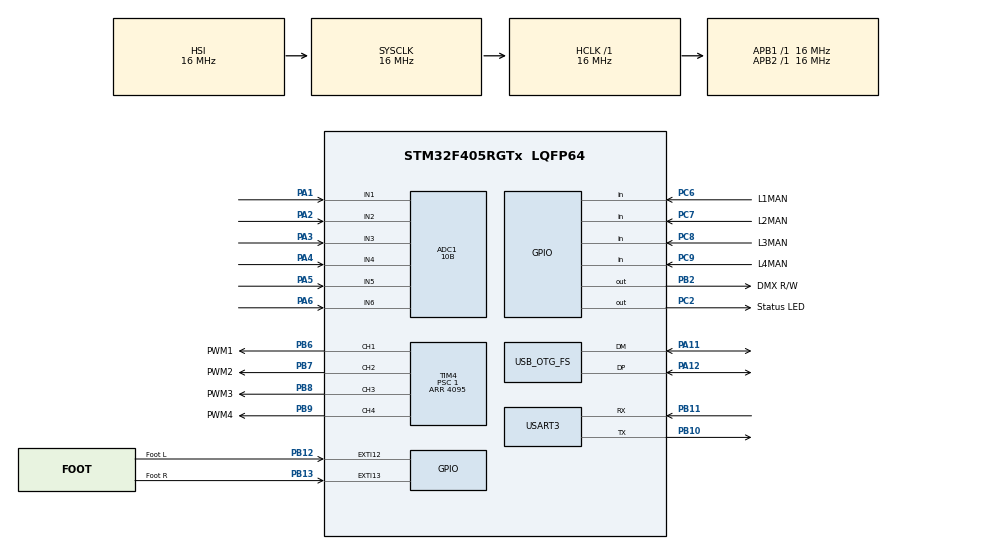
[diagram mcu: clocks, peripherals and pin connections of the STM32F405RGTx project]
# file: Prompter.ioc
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ADC1.Channel-0\#ChannelRegularConversion=ADC_CHANNEL_1
ADC1.Channel-5\#ChannelRegularConversion=ADC_CHANNEL_2
ADC1.Channel-6\#ChannelRegularConversion=ADC_CHANNEL_3
ADC1.Channel-7\#ChannelRegularConversion=ADC_CHANNEL_4
ADC1.ClockPrescaler=ADC_CLOCK_SYNC_PCLK_DIV6
ADC1.ContinuousConvMode=DISABLE
ADC1.DMAContinuousRequests=ENABLE
ADC1.DiscontinuousConvMode=DISABLE
ADC1.ExternalTrigConv=ADC_EXTERNALTRIGCONV_T3_TRGO
ADC1.InjNumberOfConversion=0
ADC1.NbrOfConversion=4
ADC1.NbrOfConversionFlag=1
ADC1.Rank-0\#ChannelRegularConversion=1
ADC1.Rank-5\#ChannelRegularConversion=2
ADC1.Rank-6\#ChannelRegularConversion=3
ADC1.Rank-7\#ChannelRegularConversion=4
ADC1.Resolution=ADC_RESOLUTION_10B
ADC1.SamplingTime-0\#ChannelRegularConversion=ADC_SAMPLETIME_3CYCLES
ADC1.SamplingTime-5\#ChannelRegularConversion=ADC_SAMPLETIME_3CYCLES
ADC1.SamplingTime-6\#ChannelRegularConversion=ADC_SAMPLETIME_3CYCLES
ADC1.SamplingTime-7\#ChannelRegularConversion=ADC_SAMPLETIME_3CYCLES
ADC1.ScanConvMode=ENABLE
ADC1.master=1
Dma.ADC1.0.Direction=DMA_PERIPH_TO_MEMORY
Dma.ADC1.0.FIFOMode=DMA_FIFOMODE_DISABLE
Dma.ADC1.0.Instance=DMA2_Stream0
Dma.ADC1.0.MemDataAlignment=DMA_MDATAALIGN_HALFWORD
Dma.ADC1.0.MemInc=DMA_MINC_ENABLE
Dma.ADC1.0.Mode=DMA_CIRCULAR
Dma.ADC1.0.PeriphDataAlignment=DMA_PDATAALIGN_HALFWORD
Dma.ADC1.0.PeriphInc=DMA_PINC_DISABLE
Dma.ADC1.0.Priority=DMA_PRIORITY_LOW
Dma.Request0=ADC1
Mcu.Family=STM32F4
Mcu.Name=STM32F405RGTx
Mcu.Package=LQFP64
NVIC.ADC_IRQn=true\:0\:0\:false\:false\:true\:true\:true
NVIC.DMA2_Stream0_IRQn=true\:0\:0\:false\:false\:true\:false\:true
NVIC.EXTI15_10_IRQn=true\:0\:0\:false\:false\:true\:true\:true
NVIC.OTG_FS_IRQn=true\:0\:0\:false\:false\:true\:false\:true
NVIC.PriorityGroup=NVIC_PRIORITYGROUP_4
NVIC.TIM3_IRQn=true\:0\:0\:false\:false\:true\:true\:true
PA1.Signal=ADCx_IN1
PA11.Mode=Device_Only
PA11.Signal=USB_OTG_FS_DM
PA12.Mode=Device_Only
PA12.Signal=USB_OTG_FS_DP
PA13.Mode=Trace_Asynchronous_SW
PA13.Signal=SYS_JTMS-SWDIO
PA14.Mode=Trace_Asynchronous_SW
PA14.Signal=SYS_JTCK-SWCLK
PA2.Signal=ADCx_IN2
PA3.Signal=ADCx_IN3
PA4.Signal=ADCx_IN4
PA5.Signal=ADCx_IN5
PA6.Signal=ADCx_IN6
PB10.Mode=Asynchronous
PB10.Signal=USART3_TX
PB11.Mode=Asynchronous
PB11.Signal=USART3_RX
PB12.GPIO_Label=Foot L
PB12.GPIO_ModeDefaultEXTI=GPIO_MODE_IT_FALLING
PB12.Signal=GPXTI12
PB13.GPIO_Label=Foot R
PB13.GPIO_ModeDefaultEXTI=GPIO_MODE_IT_FALLING
PB13.Signal=GPXTI13
PB2.GPIO_Label=DMX R/W
PB2.Signal=GPIO_Output
PB3.Mode=Trace_Asynchronous_SW
PB3.Signal=SYS_JTDO-SWO
PB6.GPIO_Label=PWM1
PB6.Signal=S_TIM4_CH1
PB7.GPIO_Label=PWM2
PB7.Signal=S_TIM4_CH2
PB8.GPIO_Label=PWM3
PB8.Signal=S_TIM4_CH3
PB9.GPIO_Label=PWM4
PB9.Signal=S_TIM4_CH4
PC2.GPIO_Label=Status LED
PC2.Signal=GPIO_Output
PC6.GPIO_Label=L1MAN
PC6.GPIO_PuPd=GPIO_NOPULL
PC6.Signal=GPIO_Input
PC7.GPIO_Label=L2MAN
PC7.GPIO_PuPd=GPIO_NOPULL
PC7.Signal=GPIO_Input
PC8.GPIO_Label=L3MAN
PC8.GPIO_PuPd=GPIO_NOPULL
PC8.Signal=GPIO_Input
PC9.GPIO_Label=L4MAN
PC9.GPIO_PuPd=GPIO_NOPULL
PC9.Signal=GPIO_Input
PH0-OSC_IN.Mode=HSE-External-Oscillator
PH0-OSC_IN.Signal=RCC_OSC_IN
PH1-OSC_OUT.Mode=HSE-External-Oscillator
PH1-OSC_OUT.Signal=RCC_OSC_OUT
ProjectManager.HeapSize=0x200
ProjectManager.StackSize=0x400
ProjectManager.TargetToolchain=STM32CubeIDE
RCC.48MHZClocksFreq_Value=48000000
RCC.AHBFreq_Value=16000000
RCC.APB1Freq_Value=16000000
RCC.APB2Freq_Value=16000000
RCC.CortexFreq_Value=16000000
RCC.HSE_VALUE=16000000
RCC.HSI_VALUE=16000000
RCC.LSE_VALUE=32768
RCC.PLLM=8
RCC.PLLN=72
RCC.PLLQ=3
RCC.SYSCLKFreq_VALUE=16000000
RCC.VCOOutputFreq_Value=144000000
SH.ADCx_IN1.0=ADC1_IN1,IN1
SH.ADCx_IN2.0=ADC1_IN2,IN2
SH.ADCx_IN3.0=ADC1_IN3,IN3
SH.ADCx_IN4.0=ADC1_IN4,IN4
SH.ADCx_IN5.0=ADC1_IN5,IN5
SH.ADCx_IN6.0=ADC1_IN6,IN6
SH.S_TIM4_CH1.0=TIM4_CH1,PWM Generation1 CH1
SH.S_TIM4_CH2.0=TIM4_CH2,PWM Generation2 CH2
SH.S_TIM4_CH3.0=TIM4_CH3,PWM Generation3 CH3
SH.S_TIM4_CH4.0=TIM4_CH4,PWM Generation4 CH4
TIM3.AutoReloadPreload=TIM_AUTORELOAD_PRELOAD_ENABLE
TIM3.Channel-Output\ Compare4\ No\ Output=TIM_CHANNEL_4
TIM3.Period=1000-1
TIM3.Prescaler=7200-1
TIM3.TIM_MasterOutputTrigger=TIM_TRGO_UPDATE
TIM4.Channel-PWM\ Generation1\ CH1=TIM_CHANNEL_1
TIM4.Channel-PWM\ Generation2\ CH2=TIM_CHANNEL_2
TIM4.Channel-PWM\ Generation3\ CH3=TIM_CHANNEL_3
TIM4.Channel-PWM\ Generation4\ CH4=TIM_CHANNEL_4
TIM4.Period=4095
TIM4.Prescaler=1
TIM4.Pulse-PWM\ Generation1\ CH1=500
TIM4.Pulse-PWM\ Generation2\ CH2=500
TIM4.Pulse-PWM\ Generation3\ CH3=500
TIM4.Pulse-PWM\ Generation4\ CH4=500
USART3.VirtualMode=VM_ASYNC
USB_DEVICE.CLASS_NAME_FS=CDC
USB_DEVICE.VirtualMode-CDC_FS=Cdc
USB_DEVICE.VirtualModeFS=Cdc_FS
USB_OTG_FS.VirtualMode=Device_Only
VP_TIM3_VS_ClockSourceINT.Mode=Internal
VP_TIM3_VS_no_output4.Mode=Output Compare4 No Output
VP_USB_DEVICE_VS_USB_DEVICE_CDC_FS.Mode=CDC_FS
board=custom

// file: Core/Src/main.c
/* USER CODE BEGIN Header */
/**
  ******************************************************************************
  * @file           : main.c
  * @brief          : Main program body
  ******************************************************************************
  * @attention
  *
  * <h2><center>&copy; Copyright (c) 2020 STMicroelectronics.
  * All rights reserved.</center></h2>
  *
  * This software component is licensed by ST under Ultimate Liberty license
  * SLA0044, the "License"; You may not use this file except in compliance with
  * the License. You may obtain a copy of the License at:
  *                             www.st.com/SLA0044
  *
  ******************************************************************************
  */
/* USER CODE END Header */
#include "main.h"
#include "usb_device.h"

ADC_HandleTypeDef hadc1;
DMA_HandleTypeDef hdma_adc1;

TIM_HandleTypeDef htim3;
TIM_HandleTypeDef htim4;

UART_HandleTypeDef huart3;

/* USER CODE BEGIN PV */
#define NR_POTS 4
#define ADC_LEN NR_POTS
uint16_t adcVals[ADC_LEN];

uint16_t knobValues[NR_POTS];

uint8_t softwareValues[NR_POTS];

/* USER CODE END PV */

void SystemClock_Config(void);
static void MX_GPIO_Init(void);
static void MX_DMA_Init(void);
static void MX_ADC1_Init(void);
static void MX_TIM4_Init(void);
static void MX_USART3_UART_Init(void);
static void MX_TIM3_Init(void);

/* USER CODE BEGIN 0 */

void checkUSBData() {
	if (dataFromUSBWaitingForProcessing) {
		char buffer[USB_BUFFER_LEN+1];
		memcpy(buffer,dataFromUSB,bytesReadFromUSB);
		const uint8_t bytesRead = bytesReadFromUSB;
		buffer[bytesRead] = '\0';
		// reset early, so USB callback can work
		bytesReadFromUSB = 0;
		dataFromUSBWaitingForProcessing = 0;

		if (bytesRead < 4) {
			return;
		}

		// commands:
		// Ln mmm
		// Set light n to mmm%
		if (buffer[0] == 'L') {
			int8_t channel = buffer[1] - '0';
			if (channel < 1 || channel > 4) {
				return;
			}
			uint8_t value = 0;
			int8_t k;
			for (k=3; buffer[k] >= '0' && buffer[k] <= '9'; ++k) {
				value *= 10;
				value += buffer[k] - '0';
			}
			softwareValues[channel-1] = value;
		}
	}
}

void updatePWM() {
	__HAL_TIM_SET_COMPARE(&htim4,TIM_CHANNEL_1,(4*knobValues[0]*softwareValues[0])/100);
	__HAL_TIM_SET_COMPARE(&htim4,TIM_CHANNEL_2,(4*knobValues[1]*softwareValues[1])/100);
	__HAL_TIM_SET_COMPARE(&htim4,TIM_CHANNEL_3,(4*knobValues[2]*softwareValues[2])/100);
	__HAL_TIM_SET_COMPARE(&htim4,TIM_CHANNEL_4,(4*knobValues[3]*softwareValues[3])/100);
}

/* USER CODE END 0 */

int main(void)
{

  /* MCU Configuration--------------------------------------------------------*/

  /* Reset of all peripherals, Initializes the Flash interface and the Systick. */
  HAL_Init();

  /* Configure the system clock */
  SystemClock_Config();

  /* Initialize all configured peripherals */
  MX_GPIO_Init();
  MX_DMA_Init();
  MX_ADC1_Init();
  MX_TIM4_Init();
  MX_USART3_UART_Init();
  MX_USB_DEVICE_Init();
  MX_TIM3_Init();
  /* USER CODE BEGIN 2 */
  HAL_ADC_Start_DMA(&hadc1, (uint32_t*)adcVals, ADC_LEN);
  HAL_TIM_Base_Start_IT(&htim3);
  HAL_TIM_Base_Start_IT(&htim4);

  softwareValues[0] = 100;
  softwareValues[1] = 100;
  softwareValues[2] = 100;
  softwareValues[3] = 100;
  HAL_GPIO_WritePin(Status_LED_GPIO_Port, Status_LED_Pin, GPIO_PIN_SET);
  HAL_Delay(1000);
  HAL_GPIO_WritePin(Status_LED_GPIO_Port, Status_LED_Pin, GPIO_PIN_RESET);
  /* USER CODE END 2 */

  /* Infinite loop */
  /* USER CODE BEGIN WHILE */
  while (1)
  {
	checkUSBData();

    updatePWM();
    /* USER CODE END WHILE */

  }
}

void SystemClock_Config(void)
{
  RCC_OscInitTypeDef RCC_OscInitStruct = {0};
  RCC_ClkInitTypeDef RCC_ClkInitStruct = {0};

  /** Configure the main internal regulator output voltage
  */
  __HAL_RCC_PWR_CLK_ENABLE();
  __HAL_PWR_VOLTAGESCALING_CONFIG(PWR_REGULATOR_VOLTAGE_SCALE1);
  /** Initializes the RCC Oscillators according to the specified parameters
  * in the RCC_OscInitTypeDef structure.
  */
  RCC_OscInitStruct.OscillatorType = RCC_OSCILLATORTYPE_HSI|RCC_OSCILLATORTYPE_HSE;
  RCC_OscInitStruct.HSEState = RCC_HSE_ON;
  RCC_OscInitStruct.HSIState = RCC_HSI_ON;
  RCC_OscInitStruct.HSICalibrationValue = RCC_HSICALIBRATION_DEFAULT;
  RCC_OscInitStruct.PLL.PLLState = RCC_PLL_ON;
  RCC_OscInitStruct.PLL.PLLSource = RCC_PLLSOURCE_HSE;
  RCC_OscInitStruct.PLL.PLLM = 8;
  RCC_OscInitStruct.PLL.PLLN = 72;
  RCC_OscInitStruct.PLL.PLLP = RCC_PLLP_DIV2;
  RCC_OscInitStruct.PLL.PLLQ = 3;
  if (HAL_RCC_OscConfig(&RCC_OscInitStruct) != HAL_OK)
  {
    Error_Handler();
  }
  /** Initializes the CPU, AHB and APB buses clocks
  */
  RCC_ClkInitStruct.ClockType = RCC_CLOCKTYPE_HCLK|RCC_CLOCKTYPE_SYSCLK
                              |RCC_CLOCKTYPE_PCLK1|RCC_CLOCKTYPE_PCLK2;
  RCC_ClkInitStruct.SYSCLKSource = RCC_SYSCLKSOURCE_HSI;
  RCC_ClkInitStruct.AHBCLKDivider = RCC_SYSCLK_DIV1;
  RCC_ClkInitStruct.APB1CLKDivider = RCC_HCLK_DIV1;
  RCC_ClkInitStruct.APB2CLKDivider = RCC_HCLK_DIV1;

  if (HAL_RCC_ClockConfig(&RCC_ClkInitStruct, FLASH_LATENCY_0) != HAL_OK)
  {
    Error_Handler();
  }
}

static void MX_ADC1_Init(void)
{

  ADC_ChannelConfTypeDef sConfig = {0};

  /** Configure the global features of the ADC (Clock, Resolution, Data Alignment and number of conversion)
  */
  hadc1.Instance = ADC1;
  hadc1.Init.ClockPrescaler = ADC_CLOCK_SYNC_PCLK_DIV6;
  hadc1.Init.Resolution = ADC_RESOLUTION_10B;
  hadc1.Init.ScanConvMode = ENABLE;
  hadc1.Init.ContinuousConvMode = DISABLE;
  hadc1.Init.DiscontinuousConvMode = DISABLE;
  hadc1.Init.ExternalTrigConvEdge = ADC_EXTERNALTRIGCONVEDGE_RISING;
  hadc1.Init.ExternalTrigConv = ADC_EXTERNALTRIGCONV_T3_TRGO;
  hadc1.Init.DataAlign = ADC_DATAALIGN_RIGHT;
  hadc1.Init.NbrOfConversion = 4;
  hadc1.Init.DMAContinuousRequests = ENABLE;
  hadc1.Init.EOCSelection = ADC_EOC_SINGLE_CONV;
  if (HAL_ADC_Init(&hadc1) != HAL_OK)
  {
    Error_Handler();
  }
  /** Configure for the selected ADC regular channel its corresponding rank in the sequencer and its sample time.
  */
  sConfig.Channel = ADC_CHANNEL_1;
  sConfig.Rank = 1;
  sConfig.SamplingTime = ADC_SAMPLETIME_3CYCLES;
  if (HAL_ADC_ConfigChannel(&hadc1, &sConfig) != HAL_OK)
  {
    Error_Handler();
  }
  /** Configure for the selected ADC regular channel its corresponding rank in the sequencer and its sample time.
  */
  sConfig.Channel = ADC_CHANNEL_2;
  sConfig.Rank = 2;
  if (HAL_ADC_ConfigChannel(&hadc1, &sConfig) != HAL_OK)
  {
    Error_Handler();
  }
  /** Configure for the selected ADC regular channel its corresponding rank in the sequencer and its sample time.
  */
  sConfig.Channel = ADC_CHANNEL_3;
  sConfig.Rank = 3;
  if (HAL_ADC_ConfigChannel(&hadc1, &sConfig) != HAL_OK)
  {
    Error_Handler();
  }
  /** Configure for the selected ADC regular channel its corresponding rank in the sequencer and its sample time.
  */
  sConfig.Channel = ADC_CHANNEL_4;
  sConfig.Rank = 4;
  if (HAL_ADC_ConfigChannel(&hadc1, &sConfig) != HAL_OK)
  {
    Error_Handler();
  }

}

static void MX_TIM3_Init(void)
{

  TIM_ClockConfigTypeDef sClockSourceConfig = {0};
  TIM_MasterConfigTypeDef sMasterConfig = {0};
  TIM_OC_InitTypeDef sConfigOC = {0};

  htim3.Instance = TIM3;
  htim3.Init.Prescaler = 7200-1;
  htim3.Init.CounterMode = TIM_COUNTERMODE_UP;
  htim3.Init.Period = 1000-1;
  htim3.Init.ClockDivision = TIM_CLOCKDIVISION_DIV1;
  htim3.Init.AutoReloadPreload = TIM_AUTORELOAD_PRELOAD_ENABLE;
  if (HAL_TIM_Base_Init(&htim3) != HAL_OK)
  {
    Error_Handler();
  }
  sClockSourceConfig.ClockSource = TIM_CLOCKSOURCE_INTERNAL;
  if (HAL_TIM_ConfigClockSource(&htim3, &sClockSourceConfig) != HAL_OK)
  {
    Error_Handler();
  }
  if (HAL_TIM_OC_Init(&htim3) != HAL_OK)
  {
    Error_Handler();
  }
  sMasterConfig.MasterOutputTrigger = TIM_TRGO_UPDATE;
  sMasterConfig.MasterSlaveMode = TIM_MASTERSLAVEMODE_DISABLE;
  if (HAL_TIMEx_MasterConfigSynchronization(&htim3, &sMasterConfig) != HAL_OK)
  {
    Error_Handler();
  }
  sConfigOC.OCMode = TIM_OCMODE_TIMING;
  sConfigOC.Pulse = 0;
  sConfigOC.OCPolarity = TIM_OCPOLARITY_HIGH;
  sConfigOC.OCFastMode = TIM_OCFAST_DISABLE;
  if (HAL_TIM_OC_ConfigChannel(&htim3, &sConfigOC, TIM_CHANNEL_4) != HAL_OK)
  {
    Error_Handler();
  }

}

static void MX_TIM4_Init(void)
{

  TIM_MasterConfigTypeDef sMasterConfig = {0};
  TIM_OC_InitTypeDef sConfigOC = {0};

  htim4.Instance = TIM4;
  htim4.Init.Prescaler = 1;
  htim4.Init.CounterMode = TIM_COUNTERMODE_UP;
  htim4.Init.Period = 4095;
  htim4.Init.ClockDivision = TIM_CLOCKDIVISION_DIV1;
  htim4.Init.AutoReloadPreload = TIM_AUTORELOAD_PRELOAD_DISABLE;
  if (HAL_TIM_PWM_Init(&htim4) != HAL_OK)
  {
    Error_Handler();
  }
  sMasterConfig.MasterOutputTrigger = TIM_TRGO_RESET;
  sMasterConfig.MasterSlaveMode = TIM_MASTERSLAVEMODE_DISABLE;
  if (HAL_TIMEx_MasterConfigSynchronization(&htim4, &sMasterConfig) != HAL_OK)
  {
    Error_Handler();
  }
  sConfigOC.OCMode = TIM_OCMODE_PWM1;
  sConfigOC.Pulse = 500;
  sConfigOC.OCPolarity = TIM_OCPOLARITY_HIGH;
  sConfigOC.OCFastMode = TIM_OCFAST_DISABLE;
  if (HAL_TIM_PWM_ConfigChannel(&htim4, &sConfigOC, TIM_CHANNEL_1) != HAL_OK)
  {
    Error_Handler();
  }
  if (HAL_TIM_PWM_ConfigChannel(&htim4, &sConfigOC, TIM_CHANNEL_2) != HAL_OK)
  {
    Error_Handler();
  }
  if (HAL_TIM_PWM_ConfigChannel(&htim4, &sConfigOC, TIM_CHANNEL_3) != HAL_OK)
  {
    Error_Handler();
  }
  if (HAL_TIM_PWM_ConfigChannel(&htim4, &sConfigOC, TIM_CHANNEL_4) != HAL_OK)
  {
    Error_Handler();
  }
  /* USER CODE BEGIN TIM4_Init 2 */

  HAL_TIM_PWM_Start(&htim4,TIM_CHANNEL_1);
  HAL_TIM_PWM_Start(&htim4,TIM_CHANNEL_2);
  HAL_TIM_PWM_Start(&htim4,TIM_CHANNEL_3);
  HAL_TIM_PWM_Start(&htim4,TIM_CHANNEL_4);

  /* USER CODE END TIM4_Init 2 */
  HAL_TIM_MspPostInit(&htim4);

}

static void MX_USART3_UART_Init(void)
{

  huart3.Instance = USART3;
  huart3.Init.BaudRate = 115200;
  huart3.Init.WordLength = UART_WORDLENGTH_8B;
  huart3.Init.StopBits = UART_STOPBITS_1;
  huart3.Init.Parity = UART_PARITY_NONE;
  huart3.Init.Mode = UART_MODE_TX_RX;
  huart3.Init.HwFlowCtl = UART_HWCONTROL_NONE;
  huart3.Init.OverSampling = UART_OVERSAMPLING_16;
  if (HAL_UART_Init(&huart3) != HAL_OK)
  {
    Error_Handler();
  }

}

static void MX_DMA_Init(void)
{

  /* DMA controller clock enable */
  __HAL_RCC_DMA2_CLK_ENABLE();

  /* DMA interrupt init */
  /* DMA2_Stream0_IRQn interrupt configuration */
  HAL_NVIC_SetPriority(DMA2_Stream0_IRQn, 0, 0);
  HAL_NVIC_EnableIRQ(DMA2_Stream0_IRQn);

}

static void MX_GPIO_Init(void)
{
  GPIO_InitTypeDef GPIO_InitStruct = {0};

  /* GPIO Ports Clock Enable */
  __HAL_RCC_GPIOH_CLK_ENABLE();
  __HAL_RCC_GPIOC_CLK_ENABLE();
  __HAL_RCC_GPIOA_CLK_ENABLE();
  __HAL_RCC_GPIOB_CLK_ENABLE();

  /*Configure GPIO pin Output Level */
  HAL_GPIO_WritePin(Status_LED_GPIO_Port, Status_LED_Pin, GPIO_PIN_RESET);

  /*Configure GPIO pin Output Level */
  HAL_GPIO_WritePin(DMX_R_W_GPIO_Port, DMX_R_W_Pin, GPIO_PIN_RESET);

  /*Configure GPIO pin : Status_LED_Pin */
  GPIO_InitStruct.Pin = Status_LED_Pin;
  GPIO_InitStruct.Mode = GPIO_MODE_OUTPUT_PP;
  GPIO_InitStruct.Pull = GPIO_NOPULL;
  GPIO_InitStruct.Speed = GPIO_SPEED_FREQ_LOW;
  HAL_GPIO_Init(Status_LED_GPIO_Port, &GPIO_InitStruct);

  /*Configure GPIO pin : DMX_R_W_Pin */
  GPIO_InitStruct.Pin = DMX_R_W_Pin;
  GPIO_InitStruct.Mode = GPIO_MODE_OUTPUT_PP;
  GPIO_InitStruct.Pull = GPIO_NOPULL;
  GPIO_InitStruct.Speed = GPIO_SPEED_FREQ_LOW;
  HAL_GPIO_Init(DMX_R_W_GPIO_Port, &GPIO_InitStruct);

  /*Configure GPIO pins : Foot_L_Pin Foot_R_Pin */
  GPIO_InitStruct.Pin = Foot_L_Pin|Foot_R_Pin;
  GPIO_InitStruct.Mode = GPIO_MODE_IT_FALLING;
  GPIO_InitStruct.Pull = GPIO_NOPULL;
  HAL_GPIO_Init(GPIOB, &GPIO_InitStruct);

  /*Configure GPIO pins : L1MAN_Pin L2MAN_Pin L3MAN_Pin L4MAN_Pin */
  GPIO_InitStruct.Pin = L1MAN_Pin|L2MAN_Pin|L3MAN_Pin|L4MAN_Pin;
  GPIO_InitStruct.Mode = GPIO_MODE_INPUT;
  GPIO_InitStruct.Pull = GPIO_NOPULL;
  HAL_GPIO_Init(GPIOC, &GPIO_InitStruct);

  /* EXTI interrupt init*/
  HAL_NVIC_SetPriority(EXTI15_10_IRQn, 0, 0);
  HAL_NVIC_EnableIRQ(EXTI15_10_IRQn);

}

/* USER CODE BEGIN 4 */

// Called when buffer is completely filled
void HAL_ADC_ConvCpltCallback(ADC_HandleTypeDef* hadc) {
  if (hadc == &hadc1) {
	for (int k=0; k<NR_POTS; ++k) {
      knobValues[k] = adcVals[k];
	}
  }
}

void HAL_GPIO_EXTI_Callback(uint16_t GPIO_Pin)
{
	if (GPIO_Pin == Foot_L_Pin) {
		CDC_Transmit_FS("L", 1);
	}
	if (GPIO_Pin == Foot_R_Pin) {
		CDC_Transmit_FS("R", 1);
	}
}

/* USER CODE END 4 */

void Error_Handler(void)
{
}

/************************ (C) COPYRIGHT STMicroelectronics *****END OF FILE****/
